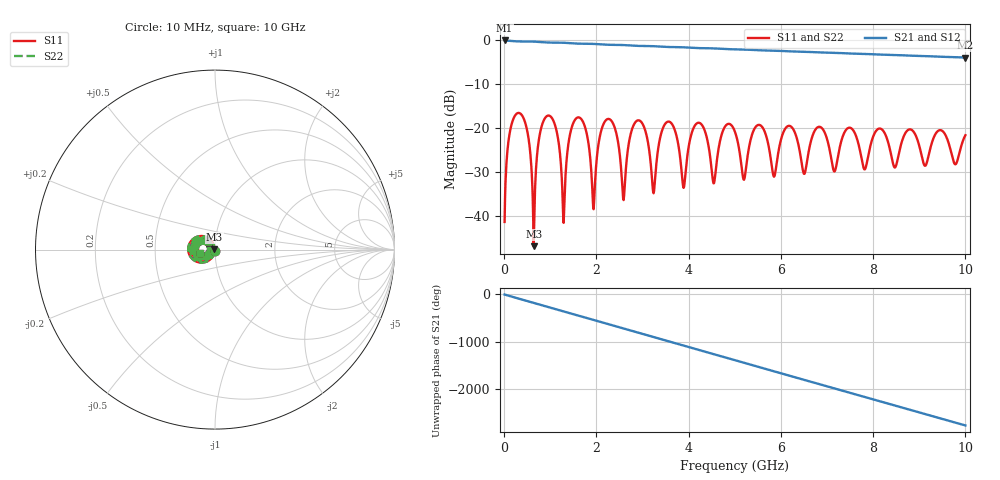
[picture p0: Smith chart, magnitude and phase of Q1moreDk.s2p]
! Touchstone generated by fitter/viewer
# HZ S  RI R 5.000000e+001
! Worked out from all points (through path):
!   1000 points, 10 MHz to 10 GHz, reference 50 ohm
!   highest |S21| = -0.01 dB at 10 MHz (marker M1); lowest = -3.9 dB at 10 GHz (marker M2)
!   group delay of S21, straight-line fit = 766 ps
!   lowest |S11| = -46.9 dB at 640 MHz (marker M3), VSWR 1.01, Z = 49.6 + j0.123 ohm
!   |S11| at or under -10 dB: start of sweep to end of sweep
!   |S22| runs from -46.9 to -16.5 dB; largest |S21 - S12| = 0
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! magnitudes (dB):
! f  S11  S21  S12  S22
! 10 MHz  -41.4  0.0  0.0  -41.4
! 310 MHz  -16.5  -0.2  -0.2  -16.5
! 640 MHz  -46.9  -0.3  -0.3  -46.9
! 880 MHz  -17.8  -0.4  -0.4  -17.8
! 1.29 GHz  -41.6  -0.5  -0.5  -41.6
! 1.68 GHz  -18.0  -0.8  -0.8  -18.0
! 1.94 GHz  -38.5  -0.8  -0.8  -38.5
! 2.23 GHz  -18.0  -1.0  -1.0  -18.0
! 2.59 GHz  -36.4  -1.1  -1.1  -36.4
! 2.86 GHz  -18.5  -1.2  -1.2  -18.5
! 3.34 GHz  -24.6  -1.4  -1.4  -24.6
! 3.62 GHz  -18.8  -1.5  -1.5  -18.8
! 3.89 GHz  -33.6  -1.6  -1.6  -33.6
! 4.24 GHz  -18.8  -1.8  -1.8  -18.8
! 4.55 GHz  -32.5  -1.8  -1.8  -32.5
! 5.01 GHz  -21.0  -2.0  -2.0  -21.0
! 5.2 GHz  -31.8  -2.1  -2.1  -31.8
! 5.49 GHz  -19.3  -2.2  -2.2  -19.3
! 5.85 GHz  -31.1  -2.3  -2.3  -31.1
! 6.67 GHz  -22.2  -2.7  -2.7  -22.2
! 8.34 GHz  -23.8  -3.3  -3.3  -23.8
! 10 GHz  -21.6  -3.9  -3.9  -21.6
